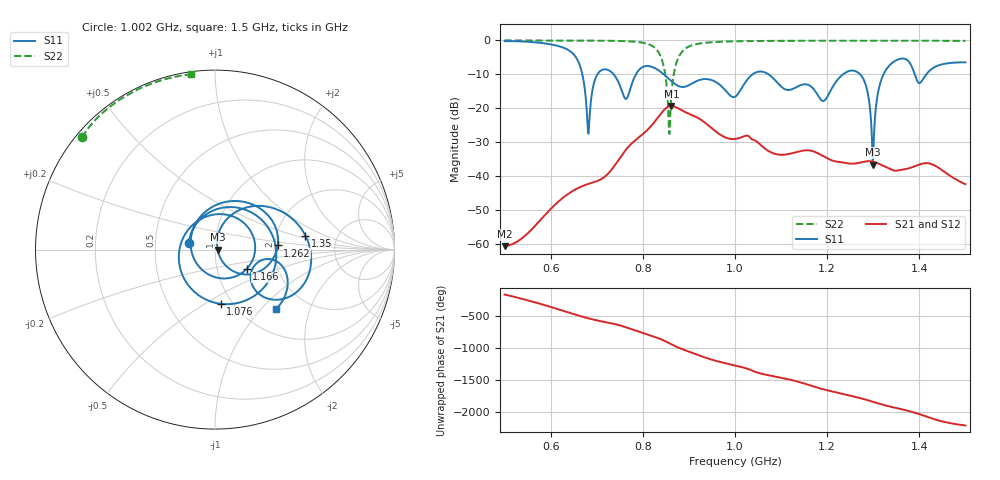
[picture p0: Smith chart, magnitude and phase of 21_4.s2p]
! TOUCHSTONE file generated by CST MICROWAVE STUDIO
! Date and time: Sat Nov 14 20:01:05 2020
! Project name: Scenario_1_Planar_Body_Tissue_Out_of_Line.cst
! Parameters = {dy1=0; L_HA=400; Ltissue=700; MT=2.54; Rad_Dielectric=30; Rad_Lower=7.3; Rad_Upper=30; Wtissue=700; a_HA=580; a_WG=246; b_HA=500; b_WG=121; c_HA=0; c_WG=187; d_feed=85; dx1=693; h_feed=15; h_lower=18; h_upper=40; hfat=3; hgap=25; hmuscle=50; hskin=1.5}
! Header version: 2018
! Port assignment regex: !\s*Touchstone port\s*([0-9]+)\s*=\s*(CST MWS port|CST DS port)\s*([0-9]+|Zmin|Zmax)\s*\(\"(.*)\"\)(\s*mode\s*([0-9]+))?.*
! Touchstone port assignment:
! Touchstone port 1 = CST MWS port 1 ("")
! Touchstone port 2 = CST MWS port 2 ("")
# GHz S DB R 50
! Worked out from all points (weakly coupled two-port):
!   1003 points, 500 MHz to 1.5 GHz, reference 50 ohm
!   highest |S21| = -19.34 dB at 862 MHz (marker M1); lowest = -60.7 dB at 500 MHz (marker M2)
!   lowest |S11| = -36.6 dB at 1.299 GHz (marker M3), VSWR 1.03, Z = 51.5 - j0.121 ohm
!   |S11| at or under -10 dB: 845.3 MHz to 1.038 GHz (193 MHz wide, 20.5 % of centre); 1.073 GHz to 1.234 GHz (161.9 MHz wide, 14 % of centre); 1.271 GHz to 1.322 GHz (51.07 MHz wide, 3.94 % of centre) (the widest 3 of 6)
!   |S22| runs from -27.6 to 0.0 dB; largest |S21 - S12| = 2.2e-05
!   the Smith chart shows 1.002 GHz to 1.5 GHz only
!   S11 on the Smith chart (normalised r, x): 1.002 GHz: 0.74, +0.05; 1.076 GHz: 0.88, -0.59; 1.166 GHz: 1.38, -0.31; 1.262 GHz: 2.07, +0.11; 1.35 GHz: 2.94, +0.62; 1.5 GHz: 1.42, -1.22
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0.5  -0.21 -121.5  -60.74 -170.0  -60.74 -170.0  -0.01 151.1
0.605  -1.30 179.4  -49.08 -13.9  -49.08 -13.9  -0.02 143.7
0.667  -9.05 97.7  -43.11 -151.2  -43.11 -151.2  -0.04 138.4
0.682  -27.53 150.6  -42.36 178.8  -42.36 178.8  -0.05 136.8
0.709  -8.88 160.6  -40.99 133.9  -40.99 133.9  -0.08 133.7
0.777  -12.53 -120.7  -30.27 6.3  -30.27 6.3  -0.32 121.1
0.834  -8.82 58.3  -22.56 -131.1  -22.56 -131.1  -3.48 83.2
0.862  -12.01 -30.1  -19.34 134.0  -19.34 134.0  -15.96 -132.7
0.889  -13.72 -139.5  -20.94 49.4  -20.94 49.4  -2.77 177.2
0.949  -11.69 7.1  -25.87 -104.0  -25.87 -104.0  -0.54 149.0
1  -16.63 177.1  -29.08 165.5  -29.08 165.5  -0.26 140.1
1.002  -16.45 166.5  -29.05 162.1  -29.05 162.1  -0.26 139.8
1.047  -9.37 0.4  -29.85 57.8  -29.85 57.8  -0.17 134.7
1.076  -10.35 -83.8  -32.90 6.8  -32.90 6.8  -0.14 131.8
1.127  -14.22 93.1  -33.20 -70.4  -33.20 -70.4  -0.11 127.4
1.166  -13.70 -31.7  -32.60 -152.6  -32.60 -152.6  -0.09 124.2
1.167  -13.83 -35.3  -32.63 -154.9  -32.63 -154.9  -0.09 124.2
1.262  -9.11 3.8  -36.32 33.1  -36.32 33.1  -0.08 116.9
1.299  -36.64 -4.6  -35.78 -42.2  -35.78 -42.2  -0.08 114.1
1.334  -7.55 31.4  -37.80 -112.2  -37.80 -112.2  -0.09 111.5
1.35  -5.85 8.8  -38.46 -137.2  -38.46 -137.2  -0.09 110.3
1.5  -6.47 -44.3  -42.45 -50.5  -42.45 -50.5  -0.12 97.9
